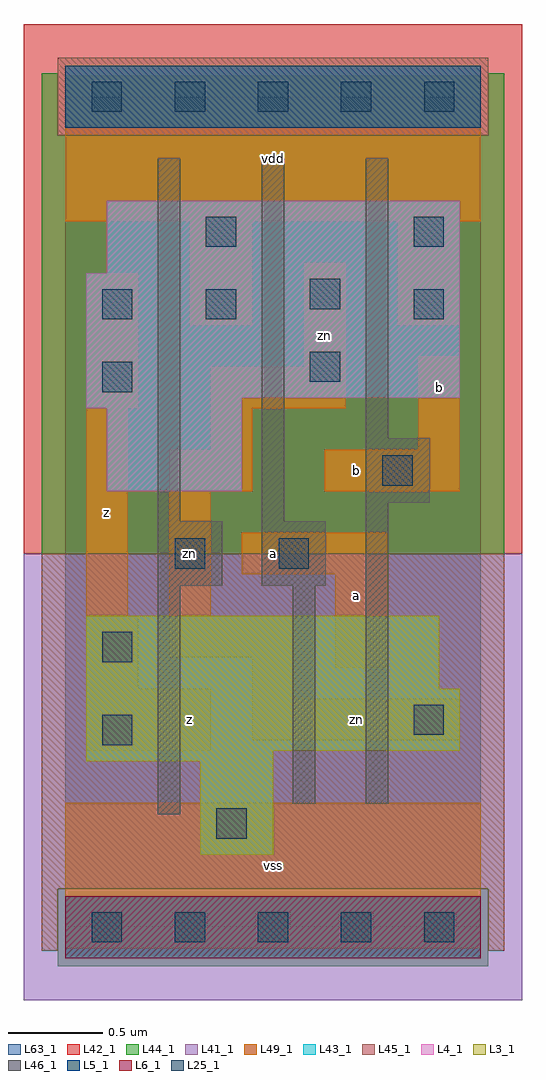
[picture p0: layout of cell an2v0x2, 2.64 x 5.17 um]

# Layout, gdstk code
import gdstk
lib = gdstk.Library(unit=1e-6, precision=1e-09)
def R(c, l, rs):  # rectangles x0, y0, x1, y1
    for r in rs: c.add(gdstk.rectangle(r[:2], r[2:], *l))
def A(c, l, x, y, w, h, nx, ny, dx, dy):  # array of equal rectangles
    R(c, l, [(x+i*dx, y+j*dy, x+i*dx+w, y+j*dy+h) for i in range(nx) for j in range(ny)])
L3_1 = (3, 1)
L4_1 = (4, 1)
L5_1 = (5, 1)
L6_1 = (6, 1)
L25_1 = (25, 1)
L41_1 = (41, 1)
L42_1 = (42, 1)
L43_1 = (43, 1)
L44_1 = (44, 1)
L45_1 = (45, 1)
L46_1 = (46, 1)
L49_1 = (49, 1)
L63_1 = (63, 1)

an2v0x2 = lib.new_cell('an2v0x2')
R(an2v0x2, L3_1, [(0.715,0.385,1.1,0.88), (0.11,0.88,1.1,0.935), (0.11,0.935,2.09,1.265), (0.11,1.265,1.98,1.65)])
R(an2v0x2, L4_1, [(0.22,2.31,0.935,2.75), (0.11,2.75,0.935,2.805), (0.11,2.805,2.09,3.465), (0.22,3.465,2.09,3.85)])
R(an2v0x2, L5_1, [(0,4.235,2.2,4.565)])
R(an2v0x2, L6_1, [(0,-0.165,2.2,0.165)])
A(an2v0x2, L25_1, 0.14, -0.08, 0.16, 0.16, 5, 2, 0.44, 4.4)
R(an2v0x2, L25_1, [(0.8,0.47,0.96,0.63), (0.195,0.965,0.355,1.125), (1.845,1.02,2.005,1.18), (0.195,1.405,0.355,1.565), (0.58,1.9,0.74,2.06), (1.13,1.9,1.29,2.06), (1.68,2.34,1.84,2.5), (0.195,2.835,0.355,2.995), (1.295,2.89,1.455,3.05), (0.195,3.22,0.355,3.38), (0.745,3.22,0.905,3.38), (1.845,3.22,2.005,3.38), (1.295,3.275,1.455,3.435), (0.745,3.605,0.905,3.765), (1.845,3.605,2.005,3.765)])
R(an2v0x2, L41_1, [(-0.22,-0.385,2.42,1.98)])
R(an2v0x2, L42_1, [(-0.22,1.98,2.42,4.785)])
R(an2v0x2, L43_1, [(0,-0.165,2.2,0.165), (0.715,0.385,1.1,0.88), (0.11,0.88,1.1,0.935), (0.11,0.935,2.09,1.265), (0.11,1.265,1.98,1.65), (0.22,2.31,0.935,2.75), (0.11,2.75,0.935,2.805), (0.11,2.805,2.09,3.465), (0.22,3.465,2.09,3.85), (0,4.235,2.2,4.565)])
R(an2v0x2, L44_1, [(-0.04,-0.205,2.24,0.205), (-0.125,1.98,2.325,4.195), (-0.125,4.195,-0.04,4.525), (2.24,4.195,2.325,4.525)])
R(an2v0x2, L45_1, [(-0.125,-0.125,-0.04,0.205), (2.24,-0.125,2.325,0.205), (-0.125,0.205,2.325,1.98), (-0.04,4.195,2.24,4.605)])
R(an2v0x2, L46_1, [(0.49,0.6,0.61,1.81), (1.205,0.655,1.325,1.81), (1.59,0.655,1.71,2.25), (0.49,1.81,0.83,2.15), (1.04,1.81,1.38,2.15), (0.49,2.15,0.61,4.075), (1.04,2.15,1.16,4.075), (1.59,2.25,1.93,2.59), (1.59,2.59,1.71,4.075)])
R(an2v0x2, L49_1, [(0,-0.11,2.2,0.66), (0.11,0.935,0.77,1.265), (0.99,0.99,2.09,1.21), (0.99,1.21,1.21,1.43), (0.11,1.265,0.385,1.65), (1.43,1.375,1.705,1.87), (0.55,1.43,1.21,1.65), (0.11,1.65,0.33,2.75), (0.55,1.65,0.77,2.31), (0.935,1.87,1.705,2.09), (0.55,2.31,0.99,2.53), (1.375,2.31,2.09,2.53), (0.77,2.53,0.99,2.75), (1.87,2.53,2.09,3.025), (0.11,2.75,0.385,3.465), (0.77,2.75,1.485,2.97), (1.265,2.97,1.485,3.52), (0.66,3.19,0.99,3.74), (1.76,3.19,2.09,3.74), (0,3.74,2.2,4.51)])
R(an2v0x2, L63_1, [(0,0,2.2,4.4)])
an2v0x2.add(gdstk.Label('zn', (0.66,1.98), layer=49, texttype=1))
an2v0x2.add(gdstk.Label('z', (0.22,2.2), layer=49, texttype=1))
an2v0x2.add(gdstk.Label('z', (0.66,1.1), layer=49, texttype=1))
an2v0x2.add(gdstk.Label('zn', (0.66,1.98), layer=49, texttype=1))
an2v0x2.add(gdstk.Label('vss', (1.1,0.33), layer=49, texttype=1))
an2v0x2.add(gdstk.Label('a', (1.1,1.98), layer=49, texttype=1))
an2v0x2.add(gdstk.Label('a', (1.54,1.76), layer=49, texttype=1))
an2v0x2.add(gdstk.Label('b', (1.54,2.42), layer=49, texttype=1))
an2v0x2.add(gdstk.Label('zn', (1.375,3.135), layer=49, texttype=1))
an2v0x2.add(gdstk.Label('vdd', (1.1,4.07), layer=49, texttype=1))
an2v0x2.add(gdstk.Label('zn', (1.54,1.1), layer=49, texttype=1))
an2v0x2.add(gdstk.Label('b', (1.98,2.86), layer=49, texttype=1))

lib.write_gds('an2v0x2.gds')
